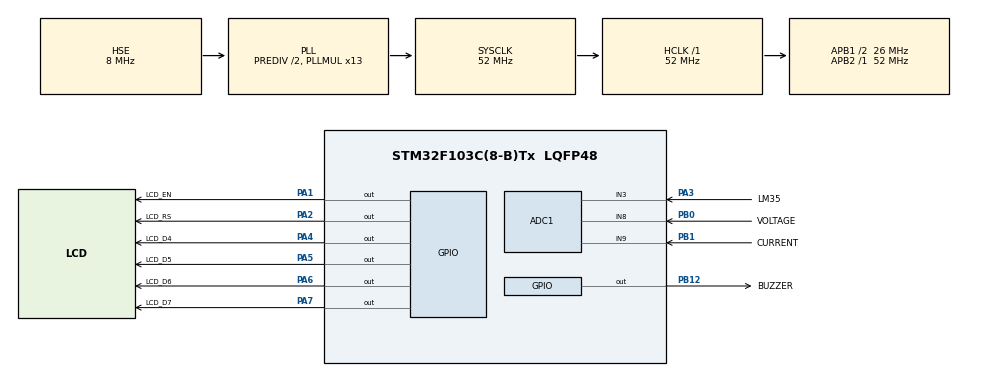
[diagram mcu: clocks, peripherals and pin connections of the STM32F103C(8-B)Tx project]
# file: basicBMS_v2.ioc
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ADC1.Channel-0\#ChannelRegularConversion=ADC_CHANNEL_8
ADC1.Channel-1\#ChannelRegularConversion=ADC_CHANNEL_9
ADC1.Channel-2\#ChannelRegularConversion=ADC_CHANNEL_3
ADC1.ContinuousConvMode=ENABLE
ADC1.NbrOfConversion=3
ADC1.NbrOfConversionFlag=1
ADC1.Rank-0\#ChannelRegularConversion=1
ADC1.Rank-1\#ChannelRegularConversion=2
ADC1.Rank-2\#ChannelRegularConversion=3
ADC1.SamplingTime-0\#ChannelRegularConversion=ADC_SAMPLETIME_239CYCLES_5
ADC1.SamplingTime-1\#ChannelRegularConversion=ADC_SAMPLETIME_239CYCLES_5
ADC1.SamplingTime-2\#ChannelRegularConversion=ADC_SAMPLETIME_239CYCLES_5
ADC1.master=1
Dma.ADC1.0.Direction=DMA_PERIPH_TO_MEMORY
Dma.ADC1.0.Instance=DMA1_Channel1
Dma.ADC1.0.MemDataAlignment=DMA_MDATAALIGN_WORD
Dma.ADC1.0.MemInc=DMA_MINC_ENABLE
Dma.ADC1.0.Mode=DMA_CIRCULAR
Dma.ADC1.0.PeriphDataAlignment=DMA_PDATAALIGN_WORD
Dma.ADC1.0.PeriphInc=DMA_PINC_DISABLE
Dma.ADC1.0.Priority=DMA_PRIORITY_LOW
Dma.Request0=ADC1
Mcu.Family=STM32F1
Mcu.Name=STM32F103C(8-B)Tx
Mcu.Package=LQFP48
NVIC.DMA1_Channel1_IRQn=true\:0\:0\:false\:false\:true\:false\:true\:true
NVIC.PriorityGroup=NVIC_PRIORITYGROUP_4
PA1.GPIO_Label=LCD_EN
PA1.Signal=GPIO_Output
PA13.Mode=Serial_Wire
PA13.Signal=SYS_JTMS-SWDIO
PA14.Mode=Serial_Wire
PA14.Signal=SYS_JTCK-SWCLK
PA2.GPIO_Label=LCD_RS
PA2.Signal=GPIO_Output
PA3.GPIO_Label=LM35
PA3.Signal=ADCx_IN3
PA4.GPIO_Label=LCD_D4
PA4.Signal=GPIO_Output
PA5.GPIO_Label=LCD_D5
PA5.Signal=GPIO_Output
PA6.GPIO_Label=LCD_D6
PA6.Signal=GPIO_Output
PA7.GPIO_Label=LCD_D7
PA7.Signal=GPIO_Output
PB0.GPIO_Label=VOLTAGE
PB0.Signal=ADCx_IN8
PB1.GPIO_Label=CURRENT
PB1.Signal=ADCx_IN9
PB12.GPIO_Label=BUZZER
PB12.Signal=GPIO_Output
PD0-OSC_IN.Mode=HSE-External-Oscillator
PD0-OSC_IN.Signal=RCC_OSC_IN
PD1-OSC_OUT.Mode=HSE-External-Oscillator
PD1-OSC_OUT.Signal=RCC_OSC_OUT
ProjectManager.HeapSize=0x200
ProjectManager.StackSize=0x400
ProjectManager.TargetToolchain=STM32CubeIDE
RCC.ADCPresc=RCC_ADCPCLK2_DIV4
RCC.AHBFreq_Value=52000000
RCC.APB1CLKDivider=RCC_HCLK_DIV2
RCC.APB1Freq_Value=26000000
RCC.APB1TimFreq_Value=52000000
RCC.APB2Freq_Value=52000000
RCC.APB2TimFreq_Value=52000000
RCC.HCLKFreq_Value=52000000
RCC.HSEDivPLL=RCC_HSE_PREDIV_DIV2
RCC.PLLMUL=RCC_PLL_MUL13
RCC.PLLSourceVirtual=RCC_PLLSOURCE_HSE
RCC.SYSCLKFreq_VALUE=52000000
RCC.SYSCLKSource=RCC_SYSCLKSOURCE_PLLCLK
RCC.USBFreq_Value=52000000
SH.ADCx_IN3.0=ADC1_IN3,IN3
SH.ADCx_IN8.0=ADC1_IN8,IN8
SH.ADCx_IN9.0=ADC1_IN9,IN9
TIM1.Period=0xffff-1
TIM1.Prescaler=52-1
VP_TIM1_VS_ClockSourceINT.Mode=Internal
board=custom

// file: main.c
/* USER CODE BEGIN Header */
/**
  ******************************************************************************
  * @file           : main.c
  * @brief          : Main program body
  ******************************************************************************
  * @attention
  *
  * Copyright (c) 2023 STMicroelectronics.
  * All rights reserved.
  *
  * This software is licensed under terms that can be found in the LICENSE file
  * in the root directory of this software component.
  * If no LICENSE file comes with this software, it is provided AS-IS.
  *
  ******************************************************************************
  */
/* USER CODE END Header */
#include "main.h"

/* USER CODE BEGIN Includes */
#include "LCD.h"
/* USER CODE END Includes */

/* USER CODE BEGIN PD */
#define ADC_RESOLUTION 4096
#define ADC_REFERENCE_VOLTAGE 3.3
#define TEMPERATURE_THRESHOLD 30.0  // Sıcaklık eşik değeri
#define VOLTAGE_THRESHOLD 3.0       // Gerilim eşik değeri
/* USER CODE END PD */

ADC_HandleTypeDef hadc1;
DMA_HandleTypeDef hdma_adc1;

TIM_HandleTypeDef htim1;

void SystemClock_Config(void);
static void MX_GPIO_Init(void);
static void MX_DMA_Init(void);
static void MX_ADC1_Init(void);
static void MX_TIM1_Init(void);

/* USER CODE BEGIN 0 */
char buffer[32];
uint32_t ADC_BUFFER[3];
float current;
float voltage;
float temp;

void HAL_ADC_ConvCpltCallback(ADC_HandleTypeDef *hadc)
{
    if (hadc == &hadc1)
    {
        // Gerilim değeri
        uint16_t voltage_adc_value = ADC_BUFFER[0]; // DMA tamamlandığında gerilim değeri alınır
        voltage = (float) (voltage_adc_value)*ADC_REFERENCE_VOLTAGE *2 / ADC_RESOLUTION*1.3;

        // Akım değeri
        uint16_t current_adc_value = ADC_BUFFER[1]; // DMA tamamlandığında akım değeri alınır
        float rawVoltage = (float)current_adc_value * ADC_REFERENCE_VOLTAGE *2 / ADC_RESOLUTION*0.95 ;
        current = (rawVoltage - 2.5)/0.185; // Sens: 5A -> 0.185,

        //ADC değerinin doğruluğunu artırmak için çarptığımız katsayıyı hesaplamak için aşağıdaki belgeden yararladık.
        // https://www.st.com/resource/en/application_note/cd00211314-how-to-get-the-best-adc-accuracy-in-stm32-microcontrollers-stmicroelectronics.pdf

        // Sıcaklık değeri
        uint16_t temperature_adc_value = ADC_BUFFER[2];
        temp =   temperature_adc_value*0.030;

    }
}

/* USER CODE END 0 */

int main(void)
{

  /* MCU Configuration--------------------------------------------------------*/

  /* Reset of all peripherals, Initializes the Flash interface and the Systick. */
  HAL_Init();

  /* Configure the system clock */
  SystemClock_Config();

  /* Initialize all configured peripherals */
  MX_GPIO_Init();
  MX_DMA_Init();
  MX_ADC1_Init();
  MX_TIM1_Init();
  /* USER CODE BEGIN 2 */

  HAL_TIM_Base_Start(&htim1);

  lcd_init(_LCD_4BIT, _LCD_FONT_5x8, _LCD_2LINE);
  lcd_print(1, 1, " BMSPROJE");
  HAL_Delay(1000);
  lcd_clear();

  HAL_ADC_Start_DMA(&hadc1, ADC_BUFFER, 3);
  /* USER CODE END 2 */

  /* Infinite loop */
  /* USER CODE BEGIN WHILE */
  while (1)
  {

	  sprintf(buffer, "Voltage: %.2f", (float)voltage);
	  lcd_print(1, 1, buffer);
	  sprintf(buffer, "Current: %.2f", (float)current);
	  lcd_print(2, 1, buffer);

	  HAL_Delay(2000);
	  lcd_clear();

	  sprintf(buffer, "temp: %.2f", (float) temp);
	  lcd_print(1, 1, buffer);

	  HAL_Delay(2000);

	  if (voltage > VOLTAGE_THRESHOLD || temp > TEMPERATURE_THRESHOLD)
	  	      {
		  HAL_GPIO_WritePin(BUZZER_GPIO_Port, BUZZER_Pin, GPIO_PIN_SET);

	  	      }
	  else
	  	      {
	  	  HAL_GPIO_WritePin(BUZZER_GPIO_Port, BUZZER_Pin, GPIO_PIN_RESET);
	  	      }

    /* USER CODE END WHILE */

  }
}

void SystemClock_Config(void)
{
  RCC_OscInitTypeDef RCC_OscInitStruct = {0};
  RCC_ClkInitTypeDef RCC_ClkInitStruct = {0};
  RCC_PeriphCLKInitTypeDef PeriphClkInit = {0};

  /** Initializes the RCC Oscillators according to the specified parameters
  * in the RCC_OscInitTypeDef structure.
  */
  RCC_OscInitStruct.OscillatorType = RCC_OSCILLATORTYPE_HSE;
  RCC_OscInitStruct.HSEState = RCC_HSE_ON;
  RCC_OscInitStruct.HSEPredivValue = RCC_HSE_PREDIV_DIV2;
  RCC_OscInitStruct.HSIState = RCC_HSI_ON;
  RCC_OscInitStruct.PLL.PLLState = RCC_PLL_ON;
  RCC_OscInitStruct.PLL.PLLSource = RCC_PLLSOURCE_HSE;
  RCC_OscInitStruct.PLL.PLLMUL = RCC_PLL_MUL13;
  if (HAL_RCC_OscConfig(&RCC_OscInitStruct) != HAL_OK)
  {
    Error_Handler();
  }

  /** Initializes the CPU, AHB and APB buses clocks
  */
  RCC_ClkInitStruct.ClockType = RCC_CLOCKTYPE_HCLK|RCC_CLOCKTYPE_SYSCLK
                              |RCC_CLOCKTYPE_PCLK1|RCC_CLOCKTYPE_PCLK2;
  RCC_ClkInitStruct.SYSCLKSource = RCC_SYSCLKSOURCE_PLLCLK;
  RCC_ClkInitStruct.AHBCLKDivider = RCC_SYSCLK_DIV1;
  RCC_ClkInitStruct.APB1CLKDivider = RCC_HCLK_DIV2;
  RCC_ClkInitStruct.APB2CLKDivider = RCC_HCLK_DIV1;

  if (HAL_RCC_ClockConfig(&RCC_ClkInitStruct, FLASH_LATENCY_2) != HAL_OK)
  {
    Error_Handler();
  }
  PeriphClkInit.PeriphClockSelection = RCC_PERIPHCLK_ADC;
  PeriphClkInit.AdcClockSelection = RCC_ADCPCLK2_DIV4;
  if (HAL_RCCEx_PeriphCLKConfig(&PeriphClkInit) != HAL_OK)
  {
    Error_Handler();
  }
}

static void MX_ADC1_Init(void)
{

  ADC_ChannelConfTypeDef sConfig = {0};

  /** Common config
  */
  hadc1.Instance = ADC1;
  hadc1.Init.ScanConvMode = ADC_SCAN_ENABLE;
  hadc1.Init.ContinuousConvMode = ENABLE;
  hadc1.Init.DiscontinuousConvMode = DISABLE;
  hadc1.Init.ExternalTrigConv = ADC_SOFTWARE_START;
  hadc1.Init.DataAlign = ADC_DATAALIGN_RIGHT;
  hadc1.Init.NbrOfConversion = 3;
  if (HAL_ADC_Init(&hadc1) != HAL_OK)
  {
    Error_Handler();
  }

  /** Configure Regular Channel
  */
  sConfig.Channel = ADC_CHANNEL_8;
  sConfig.Rank = ADC_REGULAR_RANK_1;
  sConfig.SamplingTime = ADC_SAMPLETIME_239CYCLES_5;
  if (HAL_ADC_ConfigChannel(&hadc1, &sConfig) != HAL_OK)
  {
    Error_Handler();
  }

  /** Configure Regular Channel
  */
  sConfig.Channel = ADC_CHANNEL_9;
  sConfig.Rank = ADC_REGULAR_RANK_2;
  if (HAL_ADC_ConfigChannel(&hadc1, &sConfig) != HAL_OK)
  {
    Error_Handler();
  }

  /** Configure Regular Channel
  */
  sConfig.Channel = ADC_CHANNEL_3;
  sConfig.Rank = ADC_REGULAR_RANK_3;
  if (HAL_ADC_ConfigChannel(&hadc1, &sConfig) != HAL_OK)
  {
    Error_Handler();
  }

}

static void MX_TIM1_Init(void)
{

  TIM_ClockConfigTypeDef sClockSourceConfig = {0};
  TIM_MasterConfigTypeDef sMasterConfig = {0};

  htim1.Instance = TIM1;
  htim1.Init.Prescaler = 52-1;
  htim1.Init.CounterMode = TIM_COUNTERMODE_UP;
  htim1.Init.Period = 0xffff-1;
  htim1.Init.ClockDivision = TIM_CLOCKDIVISION_DIV1;
  htim1.Init.RepetitionCounter = 0;
  htim1.Init.AutoReloadPreload = TIM_AUTORELOAD_PRELOAD_DISABLE;
  if (HAL_TIM_Base_Init(&htim1) != HAL_OK)
  {
    Error_Handler();
  }
  sClockSourceConfig.ClockSource = TIM_CLOCKSOURCE_INTERNAL;
  if (HAL_TIM_ConfigClockSource(&htim1, &sClockSourceConfig) != HAL_OK)
  {
    Error_Handler();
  }
  sMasterConfig.MasterOutputTrigger = TIM_TRGO_RESET;
  sMasterConfig.MasterSlaveMode = TIM_MASTERSLAVEMODE_DISABLE;
  if (HAL_TIMEx_MasterConfigSynchronization(&htim1, &sMasterConfig) != HAL_OK)
  {
    Error_Handler();
  }

}

static void MX_DMA_Init(void)
{

  /* DMA controller clock enable */
  __HAL_RCC_DMA1_CLK_ENABLE();

  /* DMA interrupt init */
  /* DMA1_Channel1_IRQn interrupt configuration */
  HAL_NVIC_SetPriority(DMA1_Channel1_IRQn, 0, 0);
  HAL_NVIC_EnableIRQ(DMA1_Channel1_IRQn);

}

static void MX_GPIO_Init(void)
{
  GPIO_InitTypeDef GPIO_InitStruct = {0};

  /* GPIO Ports Clock Enable */
  __HAL_RCC_GPIOD_CLK_ENABLE();
  __HAL_RCC_GPIOA_CLK_ENABLE();
  __HAL_RCC_GPIOB_CLK_ENABLE();

  /*Configure GPIO pin Output Level */
  HAL_GPIO_WritePin(GPIOA, LCD_EN_Pin|LCD_RS_Pin|LCD_D4_Pin|LCD_D5_Pin
                          |LCD_D6_Pin|LCD_D7_Pin, GPIO_PIN_RESET);

  /*Configure GPIO pin Output Level */
  HAL_GPIO_WritePin(BUZZER_GPIO_Port, BUZZER_Pin, GPIO_PIN_RESET);

  /*Configure GPIO pins : LCD_EN_Pin LCD_RS_Pin LCD_D4_Pin LCD_D5_Pin
                           LCD_D6_Pin LCD_D7_Pin */
  GPIO_InitStruct.Pin = LCD_EN_Pin|LCD_RS_Pin|LCD_D4_Pin|LCD_D5_Pin
                          |LCD_D6_Pin|LCD_D7_Pin;
  GPIO_InitStruct.Mode = GPIO_MODE_OUTPUT_PP;
  GPIO_InitStruct.Pull = GPIO_NOPULL;
  GPIO_InitStruct.Speed = GPIO_SPEED_FREQ_LOW;
  HAL_GPIO_Init(GPIOA, &GPIO_InitStruct);

  /*Configure GPIO pin : BUZZER_Pin */
  GPIO_InitStruct.Pin = BUZZER_Pin;
  GPIO_InitStruct.Mode = GPIO_MODE_OUTPUT_PP;
  GPIO_InitStruct.Pull = GPIO_NOPULL;
  GPIO_InitStruct.Speed = GPIO_SPEED_FREQ_LOW;
  HAL_GPIO_Init(BUZZER_GPIO_Port, &GPIO_InitStruct);

}

void Error_Handler(void)
{
  __disable_irq();
  while (1)
  {
  }
}
